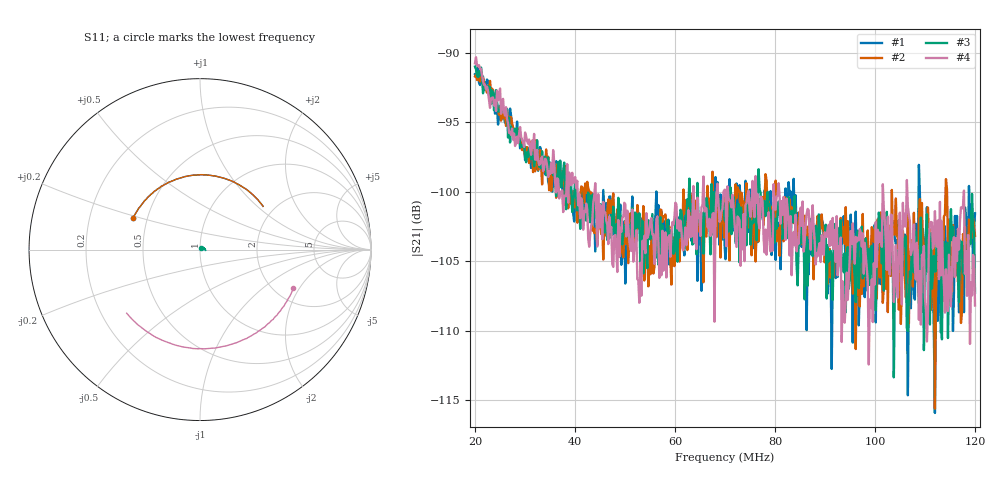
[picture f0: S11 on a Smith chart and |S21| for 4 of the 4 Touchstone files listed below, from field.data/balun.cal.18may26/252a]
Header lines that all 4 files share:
! Anritsu VNA Master:  Model: MS2036C/10/77
! SN:  1601066
! Existing Calibration Information:
! TYPE:  Current Settings,  Active Cal Settings
! # POINTS:  500,  500
! START FREQ:  20.000 MHz,  20.000 MHz
! STOP FREQ:  120.000 MHz,  120.000 MHz
! SOURCE POWER:  High,  High
! IFBW:  50 Hz,  50 Hz
! AVG FACTOR:  1 ,  1
! REF PLANE 1:  0 mm,  0 mm
! REF PLANE 2:  0 mm,  0 mm
! CAL TYPE:  Full S11,  Full S11
! CAL METHOD:  SOLT,  SOLT
! CAL LINE TYPE:  Coax,  Coax
! DUT PORT 1:  K-Conn(M),  K-Conn(M)
! DUT PORT 2:  K-Conn(M),  K-Conn(M)
! CAL STATUS:  OK: Accuracy High,  --
# GHZ S DB R 50.0
! FREQ.GHZ  S11DB  S11A  S21DB  S21A  S12DB  S12A  S22DB  S22A
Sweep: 20 MHz to 120 MHz
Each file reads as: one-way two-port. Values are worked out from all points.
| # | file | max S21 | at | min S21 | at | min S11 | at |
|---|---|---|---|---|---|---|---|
| 1 | 2a.r20.1-2.s2p | -90.94 dB | 20.6 MHz | -115.9 dB | 112 MHz | -7.3 dB | 28.62 MHz |
| 2 | 2a.r20.2-3.s2p | -91.57 dB | 21.2 MHz | -115.6 dB | 112 MHz | -7.3 dB | 28.62 MHz |
| 3 | 2a.r50.2-3.s2p | -90.99 dB | 20 MHz | -113.4 dB | 103.8 MHz | -39.7 dB | 21.4 MHz |
| 4 | 2a.r200.1-2.s2p | -90.32 dB | 20.2 MHz | -112.4 dB | 98.76 MHz | -4.9 dB | 119.8 MHz |
